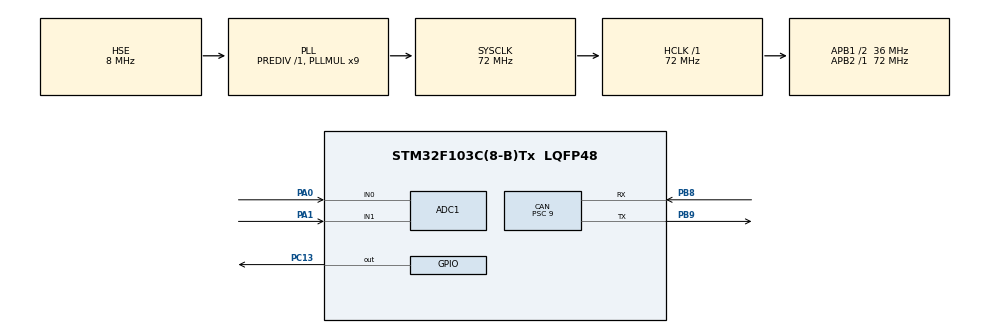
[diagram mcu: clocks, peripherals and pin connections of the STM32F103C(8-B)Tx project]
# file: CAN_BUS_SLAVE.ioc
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ADC1.Channel-0\#ChannelRegularConversion=ADC_CHANNEL_0
ADC1.ContinuousConvMode=ENABLE
ADC1.NbrOfConversionFlag=1
ADC1.Rank-0\#ChannelRegularConversion=1
ADC1.SamplingTime-0\#ChannelRegularConversion=ADC_SAMPLETIME_1CYCLE_5
ADC1.master=1
CAN.BS1=CAN_BS1_10TQ
CAN.BS2=CAN_BS2_5TQ
CAN.CalculateBaudRate=250000
CAN.CalculateTimeBit=4000
CAN.CalculateTimeQuantum=250.0
CAN.Prescaler=9
Mcu.Family=STM32F1
Mcu.Name=STM32F103C(8-B)Tx
Mcu.Package=LQFP48
NVIC.PriorityGroup=NVIC_PRIORITYGROUP_4
PA0-WKUP.Signal=ADCx_IN0
PA1.Signal=ADCx_IN1
PA13.Mode=Serial_Wire
PA13.Signal=SYS_JTMS-SWDIO
PA14.Mode=Serial_Wire
PA14.Signal=SYS_JTCK-SWCLK
PB8.Mode=CAN_Activate
PB8.Signal=CAN_RX
PB9.Mode=CAN_Activate
PB9.Signal=CAN_TX
PC13-TAMPER-RTC.Signal=GPIO_Output
PD0-OSC_IN.Mode=HSE-External-Oscillator
PD0-OSC_IN.Signal=RCC_OSC_IN
PD1-OSC_OUT.Mode=HSE-External-Oscillator
PD1-OSC_OUT.Signal=RCC_OSC_OUT
ProjectManager.HeapSize=0x200
ProjectManager.StackSize=0x400
ProjectManager.TargetToolchain=STM32CubeIDE
RCC.ADCPresc=RCC_ADCPCLK2_DIV6
RCC.AHBFreq_Value=72000000
RCC.APB1CLKDivider=RCC_HCLK_DIV2
RCC.APB1Freq_Value=36000000
RCC.APB1TimFreq_Value=72000000
RCC.APB2Freq_Value=72000000
RCC.APB2TimFreq_Value=72000000
RCC.HCLKFreq_Value=72000000
RCC.PLLMUL=RCC_PLL_MUL9
RCC.PLLSourceVirtual=RCC_PLLSOURCE_HSE
RCC.SYSCLKFreq_VALUE=72000000
RCC.SYSCLKSource=RCC_SYSCLKSOURCE_PLLCLK
RCC.USBFreq_Value=72000000
SH.ADCx_IN0.0=ADC1_IN0,IN0
SH.ADCx_IN1.0=ADC1_IN1,IN1
board=custom

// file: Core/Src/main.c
/* USER CODE BEGIN Header */
/**
  ******************************************************************************
  * @file           : main.c
  * @brief          : Main program body
  ******************************************************************************
  * @attention
  *
  * Copyright (c) 2024 STMicroelectronics.
  * All rights reserved.
  *
  * This software is licensed under terms that can be found in the LICENSE file
  * in the root directory of this software component.
  * If no LICENSE file comes with this software, it is provided AS-IS.
  *
  ******************************************************************************
  */
/* USER CODE END Header */
#include "main.h"

/* USER CODE BEGIN Includes */

uint16_t readValue1;
uint16_t readValue2;

uint8_t  Value1;
uint8_t  Value2;

ADC_ChannelConfTypeDef  sConfigPrivate = {0};

/* USER CODE END Includes */

ADC_HandleTypeDef hadc1;

CAN_HandleTypeDef hcan;

/* USER CODE BEGIN PV */

CAN_TxHeaderTypeDef pTxHeader;
CAN_RxHeaderTypeDef pRxHeader;

CAN_FilterTypeDef sFilterConfig;

uint32_t pTxmailbox;
uint8_t dizi[2];
uint8_t rCount;

/* USER CODE END PV */

void SystemClock_Config(void);
static void MX_GPIO_Init(void);
static void MX_ADC1_Init(void);
static void MX_CAN_Init(void);

/* USER CODE BEGIN 0 */

void Read_ADC()
{
	sConfigPrivate.Rank=ADC_REGULAR_RANK_1;
	sConfigPrivate.SamplingTime=ADC_SAMPLETIME_1CYCLE_5;

	sConfigPrivate.Channel= ADC_CHANNEL_0;
	HAL_ADC_ConfigChannel(&hadc1, &sConfigPrivate);
	HAL_ADC_Start(&hadc1);
	HAL_ADC_PollForConversion(&hadc1, 1000);
	readValue1 = HAL_ADC_GetValue(&hadc1);
	Value1 = readValue1/16 ;
	dizi[0] = Value1;
	HAL_ADC_Stop(&hadc1);

	sConfigPrivate.Channel= ADC_CHANNEL_0;
    HAL_ADC_ConfigChannel(&hadc1, &sConfigPrivate);
    HAL_ADC_Start(&hadc1);
    HAL_ADC_PollForConversion(&hadc1, 1000);
    readValue2 = HAL_ADC_GetValue(&hadc1);
    Value2 = readValue2/16 ;
    dizi[1] = Value2;
    HAL_ADC_Stop(&hadc1);

}

/* USER CODE END 0 */

int main(void)
{

  /* MCU Configuration--------------------------------------------------------*/

  /* Reset of all peripherals, Initializes the Flash interface and the Systick. */
  HAL_Init();

  /* Configure the system clock */
  SystemClock_Config();

  /* Initialize all configured peripherals */
  MX_GPIO_Init();
  MX_ADC1_Init();
  MX_CAN_Init();
  /* USER CODE BEGIN 2 */

  HAL_CAN_Start(&hcan);
  HAL_CAN_ActivateNotification(&hcan, CAN_IT_RX_FIFO0_MSG_PENDING);
  pTxHeader.DLC=2;
  pTxHeader.IDE=CAN_ID_STD;
  pTxHeader.RTR=CAN_RTR_DATA;
  pTxHeader.StdId= 0x0101;

  sFilterConfig.FilterActivation=ENABLE;
  sFilterConfig.FilterBank=0;
  sFilterConfig.FilterFIFOAssignment=CAN_FILTER_FIFO0;
  sFilterConfig.FilterIdHigh=0x0303<<5;
  sFilterConfig.FilterIdLow=0x0303<<5;
  sFilterConfig.FilterMaskIdHigh= 0xFFFF<<5;
  sFilterConfig.FilterMaskIdLow= 0xFFFF<<5;
  sFilterConfig.FilterMode=CAN_FILTERMODE_IDMASK;
  sFilterConfig.FilterScale=CAN_FILTERSCALE_32BIT;

  HAL_CAN_ConfigFilter(&hcan, &sFilterConfig);

  /* USER CODE END 2 */

  /* Infinite loop */
  while (1)
  {
	  Read_ADC();

	  if(rCount==1)
	  {

	  	HAL_CAN_AddTxMessage(&hcan, &pTxHeader, dizi, &pTxmailbox);
	  	HAL_GPIO_WritePin(GPIOC, GPIO_PIN_13, GPIO_PIN_SET);

	  }
	      HAL_Delay(50);

	      HAL_CAN_GetRxMessage(&hcan, CAN_RX_FIFO0, &pRxHeader, &rCount);

	      HAL_Delay(50);
  }
}

void SystemClock_Config(void)
{
  RCC_OscInitTypeDef RCC_OscInitStruct = {0};
  RCC_ClkInitTypeDef RCC_ClkInitStruct = {0};
  RCC_PeriphCLKInitTypeDef PeriphClkInit = {0};

  /** Initializes the RCC Oscillators according to the specified parameters
  * in the RCC_OscInitTypeDef structure.
  */
  RCC_OscInitStruct.OscillatorType = RCC_OSCILLATORTYPE_HSE;
  RCC_OscInitStruct.HSEState = RCC_HSE_ON;
  RCC_OscInitStruct.HSEPredivValue = RCC_HSE_PREDIV_DIV1;
  RCC_OscInitStruct.HSIState = RCC_HSI_ON;
  RCC_OscInitStruct.PLL.PLLState = RCC_PLL_ON;
  RCC_OscInitStruct.PLL.PLLSource = RCC_PLLSOURCE_HSE;
  RCC_OscInitStruct.PLL.PLLMUL = RCC_PLL_MUL9;
  if (HAL_RCC_OscConfig(&RCC_OscInitStruct) != HAL_OK)
  {
    Error_Handler();
  }

  /** Initializes the CPU, AHB and APB buses clocks
  */
  RCC_ClkInitStruct.ClockType = RCC_CLOCKTYPE_HCLK|RCC_CLOCKTYPE_SYSCLK
                              |RCC_CLOCKTYPE_PCLK1|RCC_CLOCKTYPE_PCLK2;
  RCC_ClkInitStruct.SYSCLKSource = RCC_SYSCLKSOURCE_PLLCLK;
  RCC_ClkInitStruct.AHBCLKDivider = RCC_SYSCLK_DIV1;
  RCC_ClkInitStruct.APB1CLKDivider = RCC_HCLK_DIV2;
  RCC_ClkInitStruct.APB2CLKDivider = RCC_HCLK_DIV1;

  if (HAL_RCC_ClockConfig(&RCC_ClkInitStruct, FLASH_LATENCY_2) != HAL_OK)
  {
    Error_Handler();
  }
  PeriphClkInit.PeriphClockSelection = RCC_PERIPHCLK_ADC;
  PeriphClkInit.AdcClockSelection = RCC_ADCPCLK2_DIV6;
  if (HAL_RCCEx_PeriphCLKConfig(&PeriphClkInit) != HAL_OK)
  {
    Error_Handler();
  }
}

static void MX_ADC1_Init(void)
{

  ADC_ChannelConfTypeDef sConfig = {0};

  /** Common config
  */
  hadc1.Instance = ADC1;
  hadc1.Init.ScanConvMode = ADC_SCAN_DISABLE;
  hadc1.Init.ContinuousConvMode = ENABLE;
  hadc1.Init.DiscontinuousConvMode = DISABLE;
  hadc1.Init.ExternalTrigConv = ADC_SOFTWARE_START;
  hadc1.Init.DataAlign = ADC_DATAALIGN_RIGHT;
  hadc1.Init.NbrOfConversion = 1;
  if (HAL_ADC_Init(&hadc1) != HAL_OK)
  {
    Error_Handler();
  }

  /** Configure Regular Channel
  */
  sConfig.Channel = ADC_CHANNEL_0;
  sConfig.Rank = ADC_REGULAR_RANK_1;
  sConfig.SamplingTime = ADC_SAMPLETIME_1CYCLE_5;
  if (HAL_ADC_ConfigChannel(&hadc1, &sConfig) != HAL_OK)
  {
    Error_Handler();
  }

}

static void MX_CAN_Init(void)
{

  hcan.Instance = CAN1;
  hcan.Init.Prescaler = 9;
  hcan.Init.Mode = CAN_MODE_NORMAL;
  hcan.Init.SyncJumpWidth = CAN_SJW_1TQ;
  hcan.Init.TimeSeg1 = CAN_BS1_10TQ;
  hcan.Init.TimeSeg2 = CAN_BS2_5TQ;
  hcan.Init.TimeTriggeredMode = DISABLE;
  hcan.Init.AutoBusOff = DISABLE;
  hcan.Init.AutoWakeUp = DISABLE;
  hcan.Init.AutoRetransmission = DISABLE;
  hcan.Init.ReceiveFifoLocked = DISABLE;
  hcan.Init.TransmitFifoPriority = DISABLE;
  if (HAL_CAN_Init(&hcan) != HAL_OK)
  {
    Error_Handler();
  }

}

static void MX_GPIO_Init(void)
{
  GPIO_InitTypeDef GPIO_InitStruct = {0};

  /* GPIO Ports Clock Enable */
  __HAL_RCC_GPIOC_CLK_ENABLE();
  __HAL_RCC_GPIOD_CLK_ENABLE();
  __HAL_RCC_GPIOA_CLK_ENABLE();
  __HAL_RCC_GPIOB_CLK_ENABLE();

  /*Configure GPIO pin Output Level */
  HAL_GPIO_WritePin(GPIOC, GPIO_PIN_13, GPIO_PIN_RESET);

  /*Configure GPIO pin : PC13 */
  GPIO_InitStruct.Pin = GPIO_PIN_13;
  GPIO_InitStruct.Mode = GPIO_MODE_OUTPUT_PP;
  GPIO_InitStruct.Pull = GPIO_NOPULL;
  GPIO_InitStruct.Speed = GPIO_SPEED_FREQ_LOW;
  HAL_GPIO_Init(GPIOC, &GPIO_InitStruct);

}

void Error_Handler(void)
{
  __disable_irq();
  while (1)
  {
  }
}
